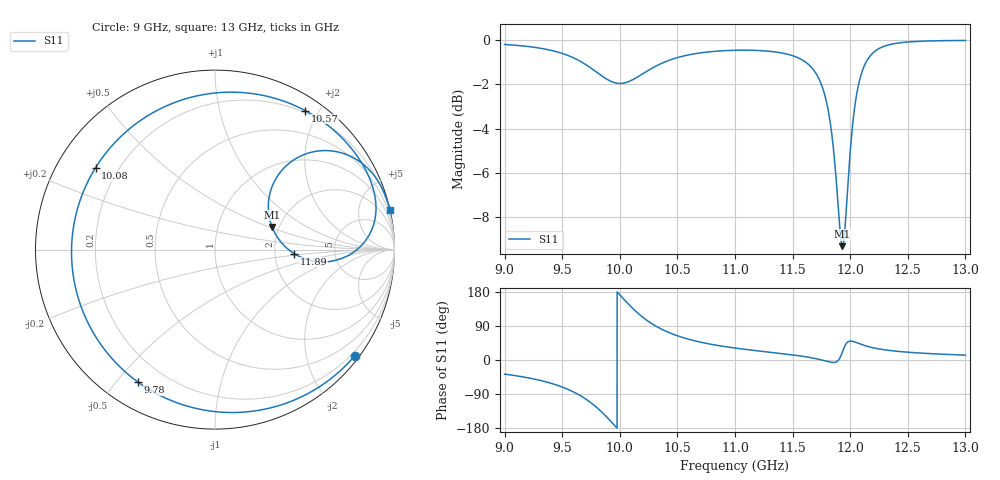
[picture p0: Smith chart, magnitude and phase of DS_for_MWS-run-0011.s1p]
! TOUCHSTONE file generated by CST DESIGN STUDIO
! Date and time: Tue Feb  4 17:20:21 2025
! Project name: C:\Work\MatlabApps\UnitCellOptimizationMatlab\CST\unitcell.cst
! Tree item: Tasks\Sweep1\SPara1\S-Parameters
! Header version: 2024
! Port assignment regex: !\s*Touchstone port\s*([0-9]+)\s*=\s*(CST MWS port|CST DES external port|CST DES block port)\s*(.+)\s* \(\"(.*)\"\)(\s*mode\s*([0-9]+))?.*
! Touchstone port assignment:
! Touchstone port 1 = CST DES external port 1 ("")
# GHz S MA R 50
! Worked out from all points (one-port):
!   4001 points, 9 GHz to 13 GHz, reference 50 ohm
!   lowest |S11| = -9.3 dB at 11.93 GHz (marker M1), VSWR 2.04, Z = 91.8 + j26.2 ohm
!   |S11| at or under -10 dB: nowhere
!   S11 on the Smith chart (normalised r, x): 9 GHz: 0.11, -2.96; 9.78 GHz: 0.10, -0.57; 10.08 GHz: 0.12, +0.31; 10.57 GHz: 0.17, +1.83; 11.89 GHz: 2.57, -0.14; 13 GHz: 0.05, +8.88
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9  0.9779 -37.3
9.282  0.9616 -51.9
9.5  0.9335 -71.3
9.66  0.895 -94.5
9.78  0.8537 -120.2
9.84  0.8317 -136.4
9.903  0.812 -155.7
10  0.7984 172.0
10.081  0.8069 145.6
10.165  0.8289 121.5
10.254  0.8565 100.7
10.376  0.8895 79.3
10.5  0.9134 63.9
10.572  0.9234 56.9
10.761  0.9403 43.3
11  0.9489 31.5
11.5  0.9225 13.6
11.743  0.8022 0.7
11.835  0.6285 -6.2
11.89  0.4414 -2.9
11.933  0.3421 21.6
11.965  0.4102 43.1
12  0.5591 49.8
12.069  0.7859 44.2
12.186  0.9294 33.1
12.311  0.9721 26.3
12.5  0.9906 20.5
13  0.9986 12.9
